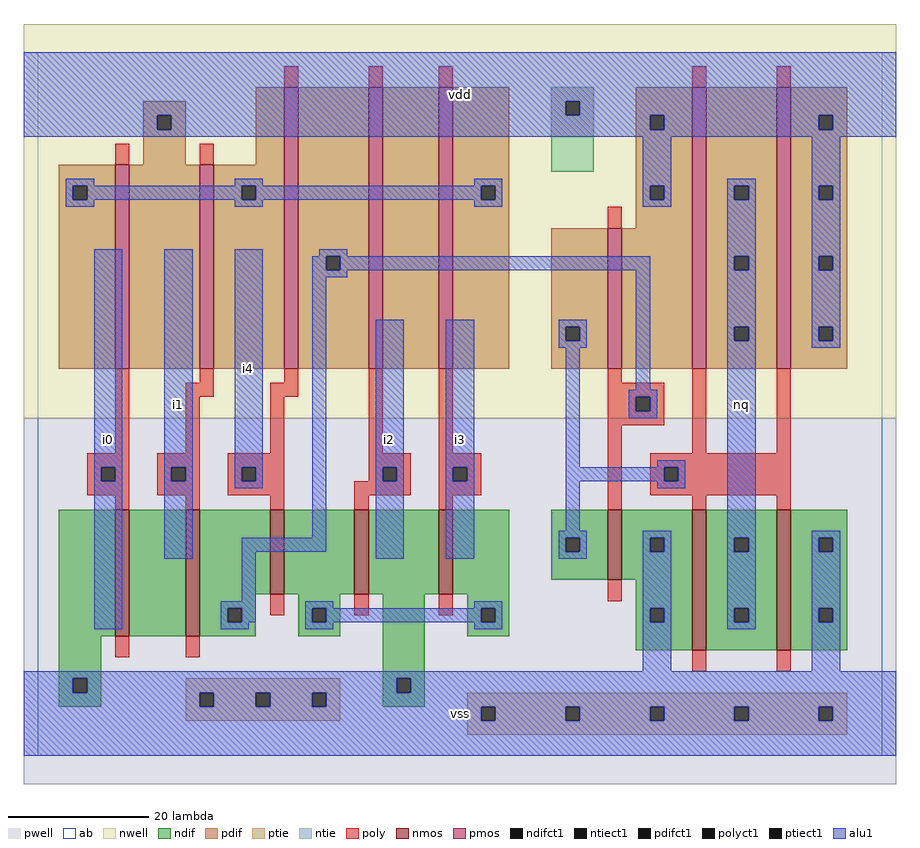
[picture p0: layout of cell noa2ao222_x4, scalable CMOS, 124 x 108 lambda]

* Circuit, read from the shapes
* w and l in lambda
.subckt noa2ao222_x4 i0 i1 i2 i3 i4 nq vdd vss
M1 n1 i0 vss vss nfet w=18 l=2
M2 n2 i1 n1 vss nfet w=18 l=2
M3 n3 i4 n2 vss nfet w=12 l=2
M4 vss i2 n3 vss nfet w=12 l=2
M5 n3 i3 vss vss nfet w=12 l=2
M6 vss n2 n4 vss nfet w=10 l=2
M7 nq n4 vss vss nfet w=20 l=2 m=2
M8 vdd i0 n5 vdd pfet w=29 l=2
M9 n5 i1 vdd vdd pfet w=29 l=2
M10 n2 i4 n5 vdd pfet w=40 l=2
M11 n6 i2 n2 vdd pfet w=40 l=2
M12 n5 i3 n6 vdd pfet w=40 l=2
M13 vdd n2 n4 vdd pfet w=20 l=2
M14 nq n4 vdd vdd pfet w=40 l=2 m=2
.ends

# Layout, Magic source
magic
tech scmos
<< ab >>
rect 0 0 120 100
<< nwell >>
rect -2 48 122 104
<< pwell >>
rect -2 -4 122 48
<< poly >>
rect 35 95 37 98
rect 47 95 49 98
rect 57 95 59 98
rect 93 95 95 98
rect 105 95 107 98
rect 11 84 13 87
rect 23 84 25 87
rect 81 75 83 78
rect 11 43 13 55
rect 23 53 25 55
rect 35 53 37 55
rect 21 51 25 53
rect 33 51 37 53
rect 21 43 23 51
rect 33 43 35 51
rect 7 41 13 43
rect 7 39 9 41
rect 11 39 13 41
rect 7 37 13 39
rect 17 41 23 43
rect 17 39 19 41
rect 21 39 23 41
rect 17 37 23 39
rect 27 41 35 43
rect 27 39 29 41
rect 31 39 35 41
rect 47 43 49 55
rect 57 43 59 55
rect 81 53 83 55
rect 81 51 89 53
rect 81 49 85 51
rect 87 49 89 51
rect 81 47 89 49
rect 47 41 53 43
rect 47 39 49 41
rect 51 39 53 41
rect 27 37 35 39
rect 11 35 13 37
rect 21 35 23 37
rect 33 35 35 37
rect 45 37 53 39
rect 57 41 63 43
rect 57 39 59 41
rect 61 39 63 41
rect 57 37 63 39
rect 45 35 47 37
rect 57 35 59 37
rect 81 35 83 47
rect 93 43 95 55
rect 105 43 107 55
rect 87 41 107 43
rect 87 39 89 41
rect 91 39 107 41
rect 87 37 107 39
rect 93 35 95 37
rect 105 35 107 37
rect 33 20 35 23
rect 45 20 47 23
rect 11 14 13 17
rect 21 14 23 17
rect 57 20 59 23
rect 81 22 83 25
rect 93 12 95 15
rect 105 12 107 15
<< ndif >>
rect 3 17 11 35
rect 13 17 21 35
rect 23 23 33 35
rect 35 23 45 35
rect 47 23 57 35
rect 59 23 67 35
rect 73 31 81 35
rect 73 29 75 31
rect 77 29 81 31
rect 73 25 81 29
rect 83 31 93 35
rect 83 29 87 31
rect 89 29 93 31
rect 83 25 93 29
rect 23 21 31 23
rect 23 19 27 21
rect 29 19 31 21
rect 37 21 43 23
rect 23 17 31 19
rect 37 19 39 21
rect 41 19 43 21
rect 37 17 43 19
rect 3 11 9 17
rect 49 11 55 23
rect 61 21 67 23
rect 61 19 63 21
rect 65 19 67 21
rect 61 17 67 19
rect 85 21 93 25
rect 85 19 87 21
rect 89 19 93 21
rect 85 15 93 19
rect 95 31 105 35
rect 95 29 99 31
rect 101 29 105 31
rect 95 21 105 29
rect 95 19 99 21
rect 101 19 105 21
rect 95 15 105 19
rect 107 31 115 35
rect 107 29 111 31
rect 113 29 115 31
rect 107 21 115 29
rect 107 19 111 21
rect 113 19 115 21
rect 107 15 115 19
rect 3 9 5 11
rect 7 9 9 11
rect 3 7 9 9
rect 49 9 51 11
rect 53 9 55 11
rect 49 7 55 9
<< pdif >>
rect 15 91 21 93
rect 15 89 17 91
rect 19 89 21 91
rect 15 84 21 89
rect 31 84 35 95
rect 3 81 11 84
rect 3 79 5 81
rect 7 79 11 81
rect 3 55 11 79
rect 13 55 23 84
rect 25 81 35 84
rect 25 79 29 81
rect 31 79 35 81
rect 25 55 35 79
rect 37 71 47 95
rect 37 69 41 71
rect 43 69 47 71
rect 37 55 47 69
rect 49 55 57 95
rect 59 81 67 95
rect 85 91 93 95
rect 85 89 87 91
rect 89 89 93 91
rect 59 79 63 81
rect 65 79 67 81
rect 59 55 67 79
rect 85 81 93 89
rect 85 79 87 81
rect 89 79 93 81
rect 85 75 93 79
rect 73 61 81 75
rect 73 59 75 61
rect 77 59 81 61
rect 73 55 81 59
rect 83 55 93 75
rect 95 81 105 95
rect 95 79 99 81
rect 101 79 105 81
rect 95 71 105 79
rect 95 69 99 71
rect 101 69 105 71
rect 95 61 105 69
rect 95 59 99 61
rect 101 59 105 61
rect 95 55 105 59
rect 107 91 115 95
rect 107 89 111 91
rect 113 89 115 91
rect 107 81 115 89
rect 107 79 111 81
rect 113 79 115 81
rect 107 71 115 79
rect 107 69 111 71
rect 113 69 115 71
rect 107 61 115 69
rect 107 59 111 61
rect 113 59 115 61
rect 107 55 115 59
<< alu1 >>
rect -2 93 122 100
rect -2 91 75 93
rect 77 91 122 93
rect -2 89 17 91
rect 19 89 87 91
rect 89 89 111 91
rect 113 89 122 91
rect -2 88 122 89
rect 4 81 8 82
rect 28 81 32 82
rect 62 81 66 82
rect 4 79 5 81
rect 7 79 29 81
rect 31 79 63 81
rect 65 79 66 81
rect 4 78 8 79
rect 28 78 32 79
rect 62 78 66 79
rect 86 81 90 88
rect 86 79 87 81
rect 89 79 90 81
rect 86 78 90 79
rect 98 81 102 82
rect 98 79 99 81
rect 101 79 102 81
rect 8 41 12 72
rect 8 39 9 41
rect 11 39 12 41
rect 8 18 12 39
rect 18 41 22 72
rect 18 39 19 41
rect 21 39 22 41
rect 18 28 22 39
rect 28 41 32 72
rect 40 71 44 72
rect 98 71 102 79
rect 28 39 29 41
rect 31 39 32 41
rect 28 38 32 39
rect 39 69 41 71
rect 43 69 87 71
rect 39 68 44 69
rect 39 31 41 68
rect 29 29 41 31
rect 48 41 52 62
rect 48 39 49 41
rect 51 39 52 41
rect 29 22 31 29
rect 48 28 52 39
rect 58 41 62 62
rect 74 61 78 62
rect 74 59 75 61
rect 77 59 78 61
rect 74 58 78 59
rect 58 39 59 41
rect 61 39 62 41
rect 58 28 62 39
rect 75 41 77 58
rect 85 52 87 69
rect 98 69 99 71
rect 101 69 102 71
rect 98 61 102 69
rect 98 59 99 61
rect 101 59 102 61
rect 84 51 88 52
rect 84 49 85 51
rect 87 49 88 51
rect 84 48 88 49
rect 88 41 92 42
rect 75 39 89 41
rect 91 39 92 41
rect 75 32 77 39
rect 88 38 92 39
rect 74 31 78 32
rect 74 29 75 31
rect 77 29 78 31
rect 74 28 78 29
rect 86 31 90 32
rect 86 29 87 31
rect 89 29 90 31
rect 26 21 31 22
rect 26 19 27 21
rect 29 19 31 21
rect 38 21 42 22
rect 62 21 66 22
rect 38 19 39 21
rect 41 19 63 21
rect 65 19 66 21
rect 26 18 30 19
rect 38 18 42 19
rect 62 18 66 19
rect 86 21 90 29
rect 86 19 87 21
rect 89 19 90 21
rect 86 12 90 19
rect 98 31 102 59
rect 110 81 114 88
rect 110 79 111 81
rect 113 79 114 81
rect 110 71 114 79
rect 110 69 111 71
rect 113 69 114 71
rect 110 61 114 69
rect 110 59 111 61
rect 113 59 114 61
rect 110 58 114 59
rect 98 29 99 31
rect 101 29 102 31
rect 98 21 102 29
rect 98 19 99 21
rect 101 19 102 21
rect 98 18 102 19
rect 110 31 114 32
rect 110 29 111 31
rect 113 29 114 31
rect 110 21 114 29
rect 110 19 111 21
rect 113 19 114 21
rect 110 12 114 19
rect -2 11 122 12
rect -2 9 5 11
rect 7 9 51 11
rect 53 9 122 11
rect -2 7 23 9
rect 25 7 31 9
rect 33 7 39 9
rect 41 7 122 9
rect -2 5 63 7
rect 65 5 75 7
rect 77 5 87 7
rect 89 5 99 7
rect 101 5 111 7
rect 113 5 122 7
rect -2 0 122 5
<< ptie >>
rect 21 9 43 11
rect 21 7 23 9
rect 25 7 31 9
rect 33 7 39 9
rect 41 7 43 9
rect 61 7 115 9
rect 21 5 43 7
rect 61 5 63 7
rect 65 5 75 7
rect 77 5 87 7
rect 89 5 99 7
rect 101 5 111 7
rect 113 5 115 7
rect 61 3 115 5
<< ntie >>
rect 73 93 79 95
rect 73 91 75 93
rect 77 91 79 93
rect 73 83 79 91
<< nmos >>
rect 11 17 13 35
rect 21 17 23 35
rect 33 23 35 35
rect 45 23 47 35
rect 57 23 59 35
rect 81 25 83 35
rect 93 15 95 35
rect 105 15 107 35
<< pmos >>
rect 11 55 13 84
rect 23 55 25 84
rect 35 55 37 95
rect 47 55 49 95
rect 57 55 59 95
rect 81 55 83 75
rect 93 55 95 95
rect 105 55 107 95
<< polyct1 >>
rect 9 39 11 41
rect 19 39 21 41
rect 29 39 31 41
rect 85 49 87 51
rect 49 39 51 41
rect 59 39 61 41
rect 89 39 91 41
<< ndifct1 >>
rect 75 29 77 31
rect 87 29 89 31
rect 27 19 29 21
rect 39 19 41 21
rect 63 19 65 21
rect 87 19 89 21
rect 99 29 101 31
rect 99 19 101 21
rect 111 29 113 31
rect 111 19 113 21
rect 5 9 7 11
rect 51 9 53 11
<< ntiect1 >>
rect 75 91 77 93
<< ptiect1 >>
rect 23 7 25 9
rect 31 7 33 9
rect 39 7 41 9
rect 63 5 65 7
rect 75 5 77 7
rect 87 5 89 7
rect 99 5 101 7
rect 111 5 113 7
<< pdifct1 >>
rect 17 89 19 91
rect 5 79 7 81
rect 29 79 31 81
rect 41 69 43 71
rect 87 89 89 91
rect 63 79 65 81
rect 87 79 89 81
rect 75 59 77 61
rect 99 79 101 81
rect 99 69 101 71
rect 99 59 101 61
rect 111 89 113 91
rect 111 79 113 81
rect 111 69 113 71
rect 111 59 113 61
<< labels >>
rlabel alu1 10 45 10 45 6 i0
rlabel alu1 20 50 20 50 6 i1
rlabel alu1 30 55 30 55 6 i4
rlabel alu1 60 6 60 6 6 vss
rlabel alu1 60 45 60 45 6 i3
rlabel alu1 50 45 50 45 6 i2
rlabel alu1 60 94 60 94 6 vdd
rlabel alu1 100 50 100 50 6 nq
<< end >>
